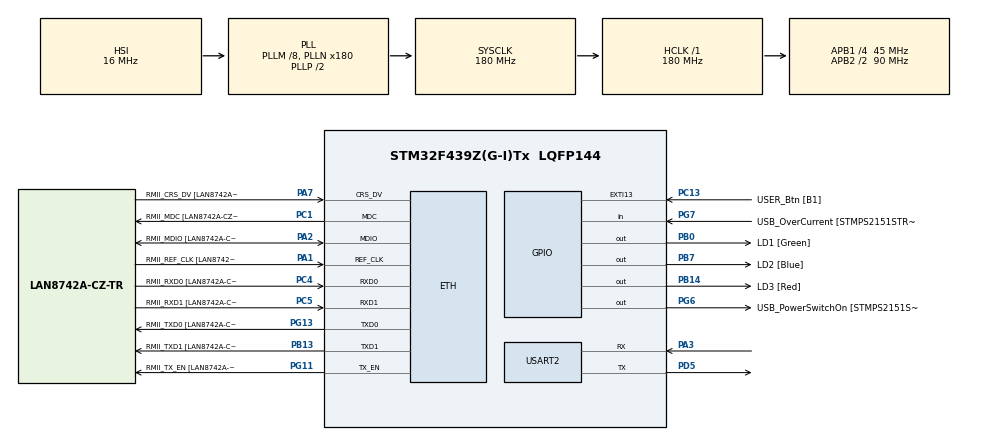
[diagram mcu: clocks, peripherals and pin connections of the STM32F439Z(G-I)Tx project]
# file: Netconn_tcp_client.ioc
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ETH.MediaInterface=ETH_MEDIA_INTERFACE_RMII
ETH.PhyAddress=0
ETH.RxMode=ETH_RXINTERRUPT_MODE
FREERTOS.Tasks01=defaultTask,24,128,StartDefaultTask,Default,NULL,Dynamic,NULL,NULL
FREERTOS.configUSE_NEWLIB_REENTRANT=1
HASH.KeySize=17
HASH.SecureHashAlgorithmType=HMAC SHA256
HASH.pKey=00 01 02 03 04 05 06 07 08 09 0A 0B 0C 0D 0E 0F 10
HASH.pKeyInput=000102030405060708090A0B0C0D0E0F10
LWIP.GATEWAY_ADDRESS=169.254.084.059
LWIP.IP_ADDRESS=169.254.084.058
LWIP.LWIP_DHCP=0
LWIP.MEMP_NUM_TCP_SEG=100
LWIP.MEM_SIZE=10*1024
LWIP.NETMASK_ADDRESS=255.255.000.000
LWIP.PBUF_POOL_BUFSIZE=1200
LWIP.PBUF_POOL_SIZE=20
LWIP.TCP_MSS=1024
LWIP.TCP_SND_BUF=8192
LWIP.TCP_SND_QUEUELEN=100
LWIP.Version=v2.1.2_Cube
Mcu.Family=STM32F4
Mcu.Name=STM32F439Z(G-I)Tx
Mcu.Package=LQFP144
NVIC.ETH_IRQn=true\:0\:0\:false\:false\:true\:false\:false\:true
NVIC.PriorityGroup=NVIC_PRIORITYGROUP_4
NVIC.TIM1_UP_TIM10_IRQn=true\:0\:0\:false\:false\:true\:false\:false\:true
NVIC.TimeBase=TIM1_UP_TIM10_IRQn
NVIC.TimeBaseIP=TIM1
NVIC.USART2_IRQn=true\:0\:0\:false\:false\:true\:true\:true\:true
PA1.GPIO_Label=RMII_REF_CLK [LAN8742A-CZ-TR_REFCLK0]
PA1.Mode=RMII
PA1.Signal=ETH_REF_CLK
PA10.GPIO_Label=USB_ID
PA10.Signal=USB_OTG_FS_ID
PA11.GPIO_Label=USB_DM
PA11.Signal=USB_OTG_FS_DM
PA12.GPIO_Label=USB_DP
PA12.Signal=USB_OTG_FS_DP
PA13.GPIO_Label=TMS
PA13.Signal=SYS_JTMS-SWDIO
PA14.GPIO_Label=TCK
PA14.Signal=SYS_JTCK-SWCLK
PA2.GPIO_Label=RMII_MDIO [LAN8742A-CZ-TR_MDIO]
PA2.Mode=RMII
PA2.Signal=ETH_MDIO
PA3.Mode=Asynchronous
PA3.Signal=USART2_RX
PA7.GPIO_Label=RMII_CRS_DV [LAN8742A-CZ-TR_CRS_DV]
PA7.Mode=RMII
PA7.Signal=ETH_CRS_DV
PA8.GPIO_Label=USB_SOF [TP1]
PA8.Signal=USB_OTG_FS_SOF
PA9.GPIO_Label=USB_VBUS
PA9.Signal=USB_OTG_FS_VBUS
PB0.GPIO_Label=LD1 [Green]
PB0.Signal=GPIO_Output
PB13.GPIO_Label=RMII_TXD1 [LAN8742A-CZ-TR_TXD1]
PB13.Mode=RMII
PB13.Signal=ETH_TXD1
PB14.GPIO_Label=LD3 [Red]
PB14.Signal=GPIO_Output
PB7.GPIO_Label=LD2 [Blue]
PB7.Signal=GPIO_Output
PC1.GPIO_Label=RMII_MDC [LAN8742A-CZ-TR_MDC]
PC1.Mode=RMII
PC1.Signal=ETH_MDC
PC13.GPIO_Label=USER_Btn [B1]
PC13.Signal=GPXTI13
PC14/OSC32_IN.Signal=RCC_OSC32_IN
PC15/OSC32_OUT.Signal=RCC_OSC32_OUT
PC4.GPIO_Label=RMII_RXD0 [LAN8742A-CZ-TR_RXD0]
PC4.Mode=RMII
PC4.Signal=ETH_RXD0
PC5.GPIO_Label=RMII_RXD1 [LAN8742A-CZ-TR_RXD1]
PC5.Mode=RMII
PC5.Signal=ETH_RXD1
PD5.Mode=Asynchronous
PD5.Signal=USART2_TX
PD8.GPIO_Label=STLK_RX [STM32F103CBT6_PA3]
PD8.Signal=USART3_TX
PD9.GPIO_Label=STLK_TX [STM32F103CBT6_PA2]
PD9.Signal=USART3_RX
PG11.GPIO_Label=RMII_TX_EN [LAN8742A-CZ-TR_TXEN]
PG11.Mode=RMII
PG11.Signal=ETH_TX_EN
PG13.GPIO_Label=RMII_TXD0 [LAN8742A-CZ-TR_TXD0]
PG13.Mode=RMII
PG13.Signal=ETH_TXD0
PG6.GPIO_Label=USB_PowerSwitchOn [STMPS2151STR_EN]
PG6.Signal=GPIO_Output
PG7.GPIO_Label=USB_OverCurrent [STMPS2151STR_FAULT]
PG7.Signal=GPIO_Input
PH0/OSC_IN.GPIO_Label=MCO [STM32F103CBT6_PA8]
PH0/OSC_IN.Mode=HSE-External-Oscillator
PH0/OSC_IN.Signal=RCC_OSC_IN
PH1/OSC_OUT.Mode=HSE-External-Oscillator
PH1/OSC_OUT.Signal=RCC_OSC_OUT
ProjectManager.HeapSize=0x200
ProjectManager.StackSize=0x400
ProjectManager.TargetToolchain=STM32CubeIDE
RCC.48MHZClocksFreq_Value=45000000
RCC.AHBFreq_Value=180000000
RCC.APB1CLKDivider=RCC_HCLK_DIV4
RCC.APB1Freq_Value=45000000
RCC.APB1TimFreq_Value=90000000
RCC.APB2CLKDivider=RCC_HCLK_DIV2
RCC.APB2Freq_Value=90000000
RCC.APB2TimFreq_Value=180000000
RCC.CortexFreq_Value=180000000
RCC.HCLKFreq_Value=180000000
RCC.HSE_VALUE=8000000
RCC.HSI_VALUE=16000000
RCC.LSE_VALUE=32768
RCC.PLLM=8
RCC.PLLMUL=RCC_PLL_MUL9
RCC.PLLN=180
RCC.PLLQ=8
RCC.PRESCALERUSB=RCC_USBCLKSOURCE_PLL_DIV1_5
RCC.SYSCLKFreq_VALUE=180000000
RCC.SYSCLKSource=RCC_SYSCLKSOURCE_PLLCLK
RCC.SYSCLKSourceVirtual=RCC_SYSCLKSOURCE_PLLCLK
RCC.USBFreq_Value=48000000
RCC.VCOOutputFreq_Value=360000000
USART2.VirtualMode=VM_ASYNC
VP_FREERTOS_VS_CMSIS_V2.Mode=CMSIS_V2
VP_HASH_VS_HASH.Mode=HASH_Activate
VP_LWIP_VS_Enabled.Mode=Enabled
VP_RNG_VS_RNG.Mode=RNG_Activate
VP_SYS_VS_tim1.Mode=TIM1
board=NUCLEO-F439ZI

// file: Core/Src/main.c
/* USER CODE BEGIN Header */
/**
  ******************************************************************************
  * @file           : main.c
  * @brief          : Main program body
  ******************************************************************************
  * @attention
  *
  * <h2><center>&copy; Copyright (c) 2023 STMicroelectronics.
  * All rights reserved.</center></h2>
  *
  * This software component is licensed by ST under BSD 3-Clause license,
  * the "License"; You may not use this file except in compliance with the
  * License. You may obtain a copy of the License at:
  *                        opensource.org/licenses/BSD-3-Clause
  *
  ******************************************************************************
  */
/* USER CODE END Header */
#include "main.h"
#include "cmsis_os.h"
#include "lwip.h"

/* USER CODE BEGIN Includes */
#include "tcp_client.h"
#include "uds_client.h"
#include "flash_memory.h"
#include "bootloader.h"
/* USER CODE END Includes */

/* USER CODE BEGIN PTD */
uint8_t data_received[app_size];
/* USER CODE END PTD */

/* USER CODE BEGIN PD */
uint32_t masterDataSize;
/* USER CODE END PD */

HASH_HandleTypeDef hhash;
__ALIGN_BEGIN static const uint8_t pKeyHASH[17] __ALIGN_END = {
                            0x00,0x01,0x02,0x03,0x04,0x05,0x06,0x07,0x08,0x09,
                            0x0A,0x0B,0x0C,0x0D,0x0E,0x0F,0x10};

UART_HandleTypeDef huart2;

/* Definitions for defaultTask */
osThreadId_t defaultTaskHandle;
const osThreadAttr_t defaultTask_attributes = {
  .name = "defaultTask",
  .stack_size = 128 * 4,
  .priority = (osPriority_t) osPriorityNormal,
};
/* Definitions for UART_Task */
osThreadId_t UART_TaskHandle;
const osThreadAttr_t UART_Task_attributes = {
  .name = "UART_Task",
  .stack_size = 128 * 4,
  .priority = (osPriority_t) osPriorityNormal-1,
};
/* USER CODE BEGIN PV */
sys_sem_t ethernetSem;
sys_sem_t uartSem;
/* USER CODE END PV */

void SystemClock_Config(void);
static void MX_GPIO_Init(void);
static void MX_HASH_Init(void);
static void MX_USART2_UART_Init(void);
void StartDefaultTask(void *argument);
void UartTask(void *argument);

/* USER CODE BEGIN PFP */
//#define app_size 6516
uint8_t flag = 0;
//uint8_t data_received[app_size]={0};
//uint8_t *data_received = (uint8_t *)0x1000000U;
uint8_t aArray[100] = {0};
uint8_t bArray[100] = {0};
/* USER CODE END PFP */

/* USER CODE BEGIN 0 */
void HAL_UART_RxCpltCallback(UART_HandleTypeDef *huart){
	flag = 100;
	//HAL_UART_Receive_IT(&huart2, (uint8_t *)bArray, 100);
	//sys_sem_signal(&uartSem);

}
/* USER CODE END 0 */

int main(void)
{

  /* MCU Configuration--------------------------------------------------------*/

  /* Reset of all peripherals, Initializes the Flash interface and the Systick. */
  HAL_Init();

  /* Configure the system clock */
  SystemClock_Config();

  /* Initialize all configured peripherals */
  MX_GPIO_Init();
  MX_HASH_Init();
  MX_USART2_UART_Init();
  /* USER CODE BEGIN 2 */
  init_uds_request_callback(UDS_start_request);
  init_uds_recv_resp_clbk(UDS_receive_response);
//  erase_inactive_bank();
  int k;
  for (k = 0; k < app_size; k++) {
	  data_received[k] = 'A';
  }
  /* USER CODE END 2 */

  /* Init scheduler */
  osKernelInitialize();

  /* Create the thread(s) */
  /* creation of defaultTask */
  defaultTaskHandle = osThreadNew(StartDefaultTask, NULL, &defaultTask_attributes);

  /* creation of UART_Task */
  UART_TaskHandle = osThreadNew(UartTask, NULL, &UART_Task_attributes);

  /* Start scheduler */
  osKernelStart();

  /* We should never get here as control is now taken by the scheduler */
  /* Infinite loop */
  while (1)
  {

  }
}

void SystemClock_Config(void)
{
  RCC_OscInitTypeDef RCC_OscInitStruct = {0};
  RCC_ClkInitTypeDef RCC_ClkInitStruct = {0};

  /** Configure the main internal regulator output voltage
  */
  __HAL_RCC_PWR_CLK_ENABLE();
  __HAL_PWR_VOLTAGESCALING_CONFIG(PWR_REGULATOR_VOLTAGE_SCALE1);
  /** Initializes the RCC Oscillators according to the specified parameters
  * in the RCC_OscInitTypeDef structure.
  */
  RCC_OscInitStruct.OscillatorType = RCC_OSCILLATORTYPE_HSI;
  RCC_OscInitStruct.HSIState = RCC_HSI_ON;
  RCC_OscInitStruct.HSICalibrationValue = RCC_HSICALIBRATION_DEFAULT;
  RCC_OscInitStruct.PLL.PLLState = RCC_PLL_ON;
  RCC_OscInitStruct.PLL.PLLSource = RCC_PLLSOURCE_HSI;
  RCC_OscInitStruct.PLL.PLLM = 8;
  RCC_OscInitStruct.PLL.PLLN = 180;
  RCC_OscInitStruct.PLL.PLLP = RCC_PLLP_DIV2;
  RCC_OscInitStruct.PLL.PLLQ = 4;
  if (HAL_RCC_OscConfig(&RCC_OscInitStruct) != HAL_OK)
  {
    Error_Handler();
  }
  /** Activate the Over-Drive mode
  */
  if (HAL_PWREx_EnableOverDrive() != HAL_OK)
  {
    Error_Handler();
  }
  /** Initializes the CPU, AHB and APB buses clocks
  */
  RCC_ClkInitStruct.ClockType = RCC_CLOCKTYPE_HCLK|RCC_CLOCKTYPE_SYSCLK
                              |RCC_CLOCKTYPE_PCLK1|RCC_CLOCKTYPE_PCLK2;
  RCC_ClkInitStruct.SYSCLKSource = RCC_SYSCLKSOURCE_PLLCLK;
  RCC_ClkInitStruct.AHBCLKDivider = RCC_SYSCLK_DIV1;
  RCC_ClkInitStruct.APB1CLKDivider = RCC_HCLK_DIV4;
  RCC_ClkInitStruct.APB2CLKDivider = RCC_HCLK_DIV2;

  if (HAL_RCC_ClockConfig(&RCC_ClkInitStruct, FLASH_LATENCY_5) != HAL_OK)
  {
    Error_Handler();
  }
}

static void MX_HASH_Init(void)
{

  hhash.Init.DataType = HASH_DATATYPE_32B;
  hhash.Init.KeySize = 17;
  hhash.Init.pKey = (uint8_t *)pKeyHASH;
  if (HAL_HASH_Init(&hhash) != HAL_OK)
  {
    Error_Handler();
  }

}

static void MX_USART2_UART_Init(void)
{

  huart2.Instance = USART2;
  huart2.Init.BaudRate = 115200;
  huart2.Init.WordLength = UART_WORDLENGTH_8B;
  huart2.Init.StopBits = UART_STOPBITS_1;
  huart2.Init.Parity = UART_PARITY_NONE;
  huart2.Init.Mode = UART_MODE_TX_RX;
  huart2.Init.HwFlowCtl = UART_HWCONTROL_NONE;
  huart2.Init.OverSampling = UART_OVERSAMPLING_16;
  if (HAL_UART_Init(&huart2) != HAL_OK)
  {
    Error_Handler();
  }

}

static void MX_GPIO_Init(void)
{
  GPIO_InitTypeDef GPIO_InitStruct = {0};

  /* GPIO Ports Clock Enable */
  __HAL_RCC_GPIOC_CLK_ENABLE();
  __HAL_RCC_GPIOH_CLK_ENABLE();
  __HAL_RCC_GPIOA_CLK_ENABLE();
  __HAL_RCC_GPIOB_CLK_ENABLE();
  __HAL_RCC_GPIOD_CLK_ENABLE();
  __HAL_RCC_GPIOG_CLK_ENABLE();

  /*Configure GPIO pin Output Level */
  HAL_GPIO_WritePin(GPIOB, LD1_Pin|LD3_Pin|LD2_Pin, GPIO_PIN_RESET);

  /*Configure GPIO pin Output Level */
  HAL_GPIO_WritePin(USB_PowerSwitchOn_GPIO_Port, USB_PowerSwitchOn_Pin, GPIO_PIN_RESET);

  /*Configure GPIO pin : USER_Btn_Pin */
  GPIO_InitStruct.Pin = USER_Btn_Pin;
  GPIO_InitStruct.Mode = GPIO_MODE_IT_RISING;
  GPIO_InitStruct.Pull = GPIO_NOPULL;
  HAL_GPIO_Init(USER_Btn_GPIO_Port, &GPIO_InitStruct);

  /*Configure GPIO pins : LD1_Pin LD3_Pin LD2_Pin */
  GPIO_InitStruct.Pin = LD1_Pin|LD3_Pin|LD2_Pin;
  GPIO_InitStruct.Mode = GPIO_MODE_OUTPUT_PP;
  GPIO_InitStruct.Pull = GPIO_NOPULL;
  GPIO_InitStruct.Speed = GPIO_SPEED_FREQ_LOW;
  HAL_GPIO_Init(GPIOB, &GPIO_InitStruct);

  /*Configure GPIO pins : STLK_RX_Pin STLK_TX_Pin */
  GPIO_InitStruct.Pin = STLK_RX_Pin|STLK_TX_Pin;
  GPIO_InitStruct.Mode = GPIO_MODE_AF_PP;
  GPIO_InitStruct.Pull = GPIO_NOPULL;
  GPIO_InitStruct.Speed = GPIO_SPEED_FREQ_VERY_HIGH;
  GPIO_InitStruct.Alternate = GPIO_AF7_USART3;
  HAL_GPIO_Init(GPIOD, &GPIO_InitStruct);

  /*Configure GPIO pin : USB_PowerSwitchOn_Pin */
  GPIO_InitStruct.Pin = USB_PowerSwitchOn_Pin;
  GPIO_InitStruct.Mode = GPIO_MODE_OUTPUT_PP;
  GPIO_InitStruct.Pull = GPIO_NOPULL;
  GPIO_InitStruct.Speed = GPIO_SPEED_FREQ_LOW;
  HAL_GPIO_Init(USB_PowerSwitchOn_GPIO_Port, &GPIO_InitStruct);

  /*Configure GPIO pin : USB_OverCurrent_Pin */
  GPIO_InitStruct.Pin = USB_OverCurrent_Pin;
  GPIO_InitStruct.Mode = GPIO_MODE_INPUT;
  GPIO_InitStruct.Pull = GPIO_NOPULL;
  HAL_GPIO_Init(USB_OverCurrent_GPIO_Port, &GPIO_InitStruct);

  /*Configure GPIO pins : USB_SOF_Pin USB_ID_Pin USB_DM_Pin USB_DP_Pin */
  GPIO_InitStruct.Pin = USB_SOF_Pin|USB_ID_Pin|USB_DM_Pin|USB_DP_Pin;
  GPIO_InitStruct.Mode = GPIO_MODE_AF_PP;
  GPIO_InitStruct.Pull = GPIO_NOPULL;
  GPIO_InitStruct.Speed = GPIO_SPEED_FREQ_VERY_HIGH;
  GPIO_InitStruct.Alternate = GPIO_AF10_OTG_FS;
  HAL_GPIO_Init(GPIOA, &GPIO_InitStruct);

  /*Configure GPIO pin : USB_VBUS_Pin */
  GPIO_InitStruct.Pin = USB_VBUS_Pin;
  GPIO_InitStruct.Mode = GPIO_MODE_INPUT;
  GPIO_InitStruct.Pull = GPIO_NOPULL;
  HAL_GPIO_Init(USB_VBUS_GPIO_Port, &GPIO_InitStruct);

}

void StartDefaultTask(void *argument)
{
  /* init code for LWIP */
  MX_LWIP_Init();
  /* USER CODE BEGIN 5 */
  //sys_arch_sem_wait(&ethernetSem, HAL_MAX_DELAY);
  //sys_arch_sem_wait(&ethernetSem, HAL_MAX_DELAY);
  tcpclient_init(0x02); // data_received[5]
  /* Infinite loop */
  for(;;)
  {
    osDelay(1);
  }
  /* USER CODE END 5 */
}

void UartTask(void *argument)
{
  /* USER CODE BEGIN UartTask */
	/*--------------TESTING UART WITH UDS--------------------------*/
//	sys_arch_sem_wait(&uartSem, HAL_MAX_DELAY); //////////////

	uint8_t downloadByte[] = {0x03};
	//uint8_t fileSizeInBytes[4];

	//uint8_t data_received2[200];
	//uint32_t dataWords[1602] = {0};
	//uint32_t *dataWords = (uint32_t *)0x10000000U;

//	HAL_UART_Transmit(&huart2, (uint8_t *)downloadByte, sizeof(downloadByte), HAL_MAX_DELAY);
////	HAL_UART_Receive_IT(&huart2, (uint8_t *)data_received, 6416);  // 3208  6416  1604
//	HAL_UART_Receive(&huart2, data_received, 6416, HAL_MAX_DELAY); // 3208  6416  1604
	//while(flag!=100);
	flag = 0;

	//uint8_t flashingStatus = flash_memory_write((uint32_t *)data_received, 1604, APP); // dataWords

	//sys_sem_signal(&ethernetSem);

	//uint32_t sizeInWords = bytesToWords(data_received, 160, (uint32_t *)data_received); // 3204  6408  200  dataWords
	//erase_inactive_bank();

	//bootloader_switch_to_inactive_bank();
	//bootloader_reboot();
	/*HAL_UART_Transmit(&huart2, (uint8_t *)downloadByte, sizeof(downloadByte), HAL_MAX_DELAY);
	HAL_UART_Receive_IT(&huart2, (uint8_t *)data_received, 100);
	//HAL_UART_Receive(&huart2, (uint8_t *)data_received, 100, HAL_MAX_DELAY); // 3204
	//while(flag!=100);
	//flag = 0;
	int j;
	for (j = 0; j < 801; j++) {
		dataWords[j] = 0;
	}
	sizeInWords = bytesToWords(data_received, 100, dataWords);  // 3204
	flashingStatus = flash_memory_write(dataWords, sizeInWords, APP);*/

//	for(i = 0; i<2; i++) {
//		HAL_UART_Receive_IT(&huart2, (uint8_t *)data_received, 6408);
//		while(flag!=100);
//		flag = 0;
//		uint32_t sizeInWords = bytesToWords(data_received, 6408, dataWords);
//		uint8_t flashingStatus = flash_memory_write(dataWords, sizeInWords, APP);
//	}
	//HAL_UART_Receive_IT(&huart2, (uint8_t *)fileSizeInBytes, 4);
	//sys_arch_sem_wait(&uartSem, HAL_MAX_DELAY);

	//int j;
	/*uint8_t versionNumber[4]={0x01, 0x02, 0x01, 0x00};
	HAL_UART_Transmit(&huart2, (uint8_t *)versionNumber, sizeof(versionNumber), HAL_MAX_DELAY);

	HAL_UART_Receive_IT(&huart2, (uint8_t *)data_received, 6);
	// print version number on HMI
	// wait on uart semaphore for NEW PACKAGE frame
	// ... uart ISR gives uart semaphore
	data_received[5] = 0x07; // for testing

	// parse received frame, notify user, check connect with a target or not

	//sys_sem_signal(&ethernetSem);
	// if update is for fota master: erase memory and flash the received frame
	uint8_t downloadPackageFrame[4] = {0x03, 0x02, 0x01, 0x03};
	HAL_UART_Transmit(&huart2, (uint8_t *)downloadPackageFrame, sizeof(downloadPackageFrame), HAL_MAX_DELAY);

	// erase memory at fota master if it has an update (in a separate task)

	HAL_UART_Receive_IT(&huart2, (uint8_t *)data_received, 1);
	// wait on uart semaphore for PACKAGE DOWNLOADED frame
	// ... uart ISR gives uart semaphore
	data_received[0] = 0x04; // for testing

	if (data_received[0] == 0x04) {
		uint8_t targetUpdateFrame[4] = {0x05, 0x00, 0x01, 0xFF}; // fota master image file
		HAL_UART_Transmit(&huart2, (uint8_t *)targetUpdateFrame, sizeof(targetUpdateFrame), HAL_MAX_DELAY);
	}

	// receive file size
	HAL_UART_Receive_IT(&huart2, (uint8_t *)data_received, 4);
	// wait on uart semaphore for SECUREBOOT/IMAGE SIZE frame
	// ... uart ISR gives uart semaphore
	data_received[0] = 0x07; // for testing
	data_received[1] = 0x00; // for testing
	data_received[2] = 0x00; // for testing
	data_received[3] = 0x0A; // for testing

	if (data_received[0] == 0x07) {
		masterDataSize = (((uint32_t)data_received[1])<<2*8|((uint32_t)data_received[2])<<8|((uint32_t)data_received[3]));
	}

	// start sending frame
	uint8_t startSendingFrame[4] = {0x08, 0xFF, 0xFF, 0xFF};
	HAL_UART_Transmit(&huart2, (uint8_t *)startSendingFrame, sizeof(startSendingFrame), HAL_MAX_DELAY);

	int i = masterDataSize;
	for (; i > 0; i-=1024) {
		if (i >= 1024) {
			HAL_UART_Receive_IT(&huart2, (uint8_t *)data_received, 1024);
		} else {
			HAL_UART_Receive_IT(&huart2, (uint8_t *)data_received, i);
		}
		// wait on uart semaphore for data frame
		// ... uart ISR gives uart semaphore
		//sys_arch_sem_wait(&uartSem, HAL_MAX_DELAY);

		uint32_t dummyData[] = {0x22441133, 0x88775566, 0xAAEEAAEE};
		// forward to target, or flash at master
		uint8_t flashStatus = flash_memory_write(dummyData, 3, APP);
		// if ok, send ok frame
		if (flashStatus == SUCCEED) {
			uint8_t okFrame[4] = {0x00, 0x00, 0x00, 0x00};
			HAL_UART_Transmit(&huart2, (uint8_t *)okFrame, sizeof(okFrame), HAL_MAX_DELAY);
		}

	}*/

  /* Infinite loop */
  for(;;)
  {
    osDelay(1);
  }
  /* USER CODE END UartTask */
}

void HAL_TIM_PeriodElapsedCallback(TIM_HandleTypeDef *htim)
{
  if (htim->Instance == TIM1) {
    HAL_IncTick();
  }
}

void Error_Handler(void)
{
}
